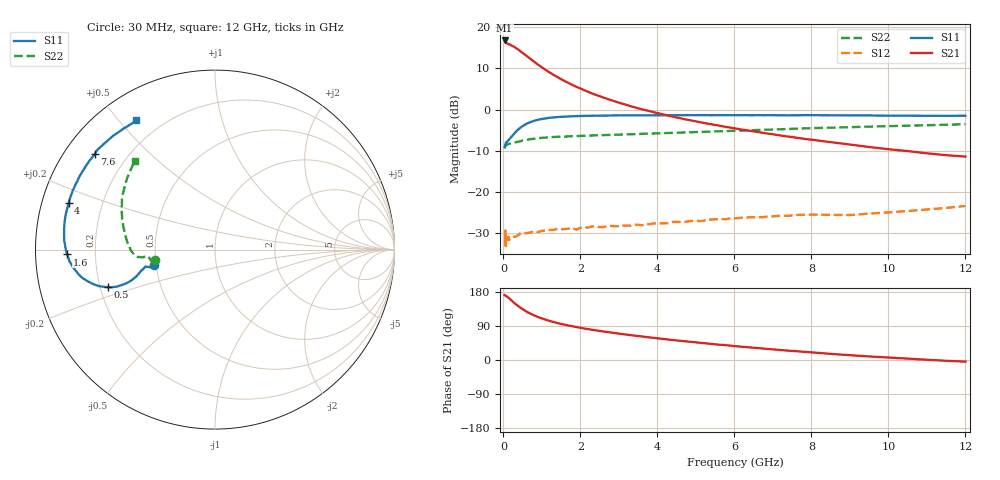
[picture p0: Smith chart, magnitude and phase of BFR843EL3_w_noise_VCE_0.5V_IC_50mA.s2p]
! Infineon Technologies  Discrete & RF Semiconductors
! BFR843EL3
! VCE =  0.5 V,  IC =  50 mA
! Common Emitter S-Parameters:  Aug 2013
# GHz  S  MA  R  50
!  f  S11  S21  S12  S22
! GHz  MAG  ANG  MAG  ANG  MAG  ANG  MAG  ANG
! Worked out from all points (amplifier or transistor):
!   103 points, 30 MHz to 12 GHz, reference 50 ohm
!   highest |S21| = 16.8 dB at 30 MHz (marker M1)
!   |S21| within 3 dB of that: start of sweep to 495.5 MHz
!   unconditionally stable (mu >= 1): start of sweep to end of sweep
!   at 400 MHz: K = 1.91, MAG = 16.9 dB, |S12| = -30.3 dB
!   at 3.7 GHz: K = 2.60, MAG = 6.8 dB, |S12| = -27.7 dB
!   at 12 GHz: K = 4.68, MAG = -3.7 dB, |S12| = -23.3 dB
!   lowest NFmin = 1.75 dB at 450 MHz
!   S11 on the Smith chart (normalised r, x): 30 MHz: 0.48, -0.10; 500 MHz: 0.23, -0.16; 1.6 GHz: 0.10, -0.02; 4 GHz: 0.08, +0.16; 7.6 GHz: 0.09, +0.35; 12 GHz: 0.11, +0.56
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0.03  0.3527 -165.5  6.896 171.3  0.0241 17.6  0.3407 -170.3
0.05  0.366 -164.3  6.648 169.5  0.0343 -5.1  0.3626 -170.1
0.06  0.399 -166.2  6.495 169.6  0.0222 1.7  0.3683 -172.7
0.07  0.3988 -166.2  6.432 168.8  0.0269 10.5  0.3721 -173.2
0.2  0.4646 -161.1  6.033 157.9  0.0277 7.3  0.3891 -174.3
0.3  0.5249 -159.2  5.685 148.9  0.0288 9.0  0.401 -174.1
0.4  0.5829 -159.3  5.286 141.1  0.0306 8.8  0.4109 -174.0
0.5  0.6331 -160.7  4.864 134.0  0.0319 10.4  0.4235 -174.3
0.7  0.7071 -164.3  4.128 122.4  0.0326 12.0  0.4393 -175.3
0.8  0.7345 -166.3  3.799 117.6  0.0338 11.7  0.4447 -175.9
1  0.7711 -169.6  3.253 109.6  0.0341 11.3  0.456 -177.1
1.2  0.7973 -172.9  2.82 103.0  0.0349 12.5  0.4629 -178.4
1.6  0.8232 -178.1  2.208 93.0  0.0358 13.2  0.4717 179.2
2.1  0.8417 176.6  1.721 83.1  0.0376 13.7  0.483 176.9
3  0.8528 169.2  1.213 69.6  0.0386 17.0  0.4988 172.7
4  0.8563 162.2  0.909 57.2  0.0417 21.5  0.5169 168.4
4.1  0.8565 161.5  0.886 56.1  0.042 21.1  0.5174 167.9
6.1  0.858 149.5  0.584 35.9  0.0486 23.8  0.5577 158.7
7.6  0.8556 141.6  0.458 23.3  0.0528 23.1  0.5887 151.8
8.5  0.855 136.6  0.404 16.1  0.0531 22.0  0.6054 147.2
10.5  0.8454 127.3  0.315 3.7  0.0592 27.0  0.6386 138.5
12  0.8449 121.4  0.27 -4.3  0.0681 25.5  0.6667 132.2
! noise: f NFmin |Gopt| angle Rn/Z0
0.45  1.75  0.3  181  0.13
0.9  1.79  0.32  185  0.13
1.5  1.84  0.34  187  0.12
1.9  1.87  0.35  -172  0.12
2.4  1.91  0.38  192  0.12
3.5  1.98  0.41  198  0.13
5.5  2.11  0.47  207  0.12
8  2.27  0.57  219  0.18
10  2.39  0.6  234  0.37
